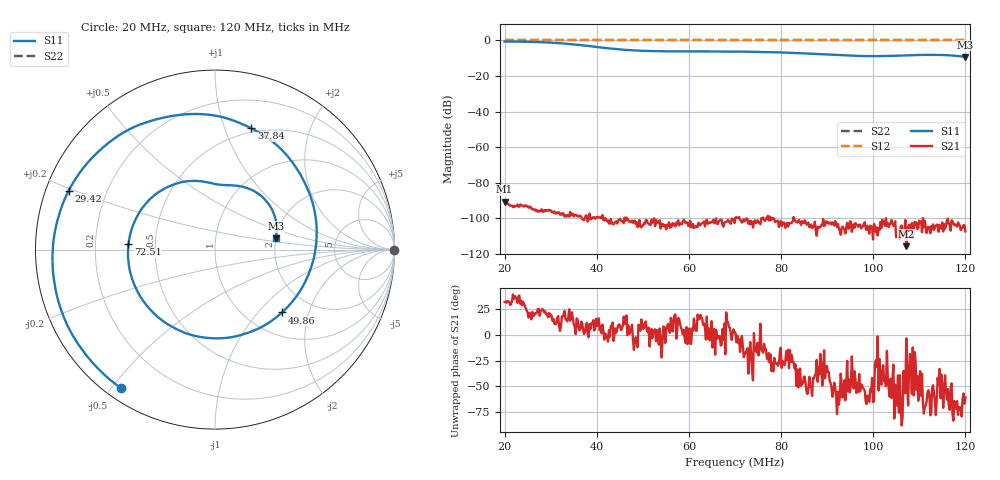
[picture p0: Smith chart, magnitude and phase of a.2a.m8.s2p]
! Anritsu VNA Master:  Model: MS2036C/10/77
! SN:  1601066
! /bd0/18may09/252.ew.m8.s2p
! Existing Calibration Information:
! TYPE:  Current Settings,  Active Cal Settings
! TIME:  05/09/2018 08:23:50 AM,  05/09/2018 08:17:55 AM
! INTERNAL TEMP:  41.0 C,  41.3 C
! # POINTS:  500,  500
! START FREQ:  20.000 MHz,  20.000 MHz
! STOP FREQ:  120.000 MHz,  120.000 MHz
! SOURCE POWER:  High,  High
! IFBW:  50 Hz,  50 Hz
! AVG FACTOR:  1 ,  1
! REF PLANE 1:  0 mm,  0 mm
! REF PLANE 2:  0 mm,  0 mm
! CAL TYPE:  Full S11,  Full S11
! CAL METHOD:  SOLT,  SOLT
! CAL LINE TYPE:  Coax,  Coax
! DUT PORT 1:  K-Conn(F),  K-Conn(F)
! DUT PORT 2:  K-Conn(F),  K-Conn(F)
! CAL STATUS:  OK: Accuracy High,  --
# GHZ S DB R 50.0
! FREQ.GHZ  S11DB  S11A  S21DB  S21A  S12DB  S12A  S22DB  S22A
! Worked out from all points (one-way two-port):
!   500 points, 20 MHz to 120 MHz, reference 50 ohm
!   highest |S21| = -90.55 dB at 20 MHz (marker M1); lowest = -115.6 dB at 107.2 MHz (marker M2)
!   lowest |S11| = -9.3 dB at 120 MHz (marker M3), VSWR 2.05, Z = 99.7 + j14.2 ohm
!   |S11| at or under -10 dB: nowhere
!   |S22| runs from 0.0 to 0.0 dB; largest |S21 - S12| = 1
!   S11 on the Smith chart (normalised r, x): 20 MHz: 0.04, -0.53; 29.42 MHz: 0.07, +0.19; 37.84 MHz: 0.46, +1.24; 49.86 MHz: 1.43, -1.36; 72.51 MHz: 0.35, +0.03; 120 MHz: 1.99, +0.28
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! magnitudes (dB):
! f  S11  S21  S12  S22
! 20 MHz  -0.6  -90.6  0.0  0.0
! 24.81 MHz  -0.7  -93.2  0.0  0.0
! 29.42 MHz  -1.1  -95.7  0.0  0.0
! 32.83 MHz  -1.7  -97.5  0.0  0.0
! 36.83 MHz  -2.7  -100.2  0.0  0.0
! 37.84 MHz  -3.0  -98.6  0.0  0.0
! 44.45 MHz  -4.9  -102.9  0.0  0.0
! 46.85 MHz  -5.4  -101.2  0.0  0.0
! 49.86 MHz  -5.8  -104.3  0.0  0.0
! 53.47 MHz  -6.1  -101.7  0.0  0.0
! 70.1 MHz  -6.2  -99.5  0.0  0.0
! 72.51 MHz  -6.3  -100.0  0.0  0.0
! 80.12 MHz  -6.8  -104.3  0.0  0.0
! 86.73 MHz  -7.5  -105.5  0.0  0.0
! 97.35 MHz  -8.7  -105.6  0.0  0.0
! 99.96 MHz  -8.8  -111.9  0.0  0.0
! 103.4 MHz  -8.7  -104.9  0.0  0.0
! 107.2 MHz  -8.4  -115.6  0.0  0.0
! 111.2 MHz  -8.1  -101.3  0.0  0.0
! 114.6 MHz  -8.1  -104.9  0.0  0.0
! 117.2 MHz  -8.5  -101.4  0.0  0.0
! 120 MHz  -9.3  -107.3  0.0  0.0
